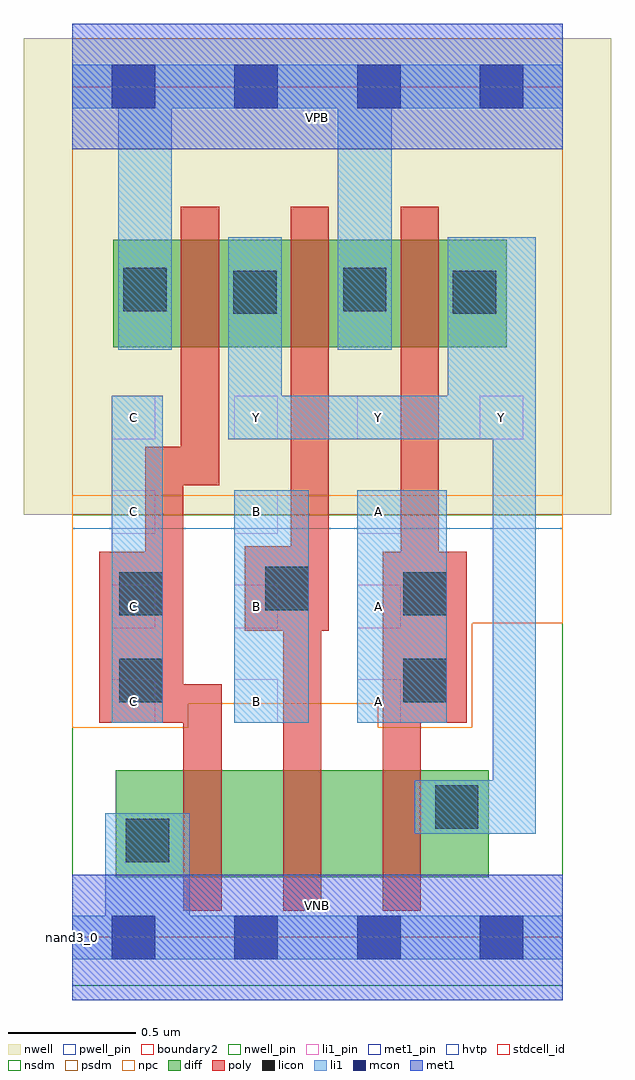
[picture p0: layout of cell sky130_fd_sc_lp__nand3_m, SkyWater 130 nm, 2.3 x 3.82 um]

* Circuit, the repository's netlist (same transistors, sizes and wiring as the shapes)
* Copyright 2020 The SkyWater PDK Authors
*
* Licensed under the Apache License, Version 2.0 (the "License");
* you may not use this file except in compliance with the License.
* You may obtain a copy of the License at
*
*     https://www.apache.org/licenses/LICENSE-2.0
*
* Unless required by applicable law or agreed to in writing, software
* distributed under the License is distributed on an "AS IS" BASIS,
* WITHOUT WARRANTIES OR CONDITIONS OF ANY KIND, either express or implied.
* See the License for the specific language governing permissions and
* limitations under the License.
*
* SPDX-License-Identifier: Apache-2.0

.SUBCKT sky130_fd_sc_lp__nand3_m A B C VGND VNB VPB VPWR Y
*.PININFO A:I B:I C:I VGND:I VNB:I VPB:I VPWR:I Y:O
MMP0 Y A VPWR VPB sky130_fd_pr__pfet_01v8_hvt m=1 w=0.42U l=0.15U mult=1 sa=0.265
+ sb=0.265 sd=0.28 area=0.063 perim=1.14
MMP1 Y B VPWR VPB sky130_fd_pr__pfet_01v8_hvt m=1 w=0.42U l=0.15U mult=1 sa=0.265
+ sb=0.265 sd=0.28 area=0.063 perim=1.14
MMP2 Y C VPWR VPB sky130_fd_pr__pfet_01v8_hvt m=1 w=0.42U l=0.15U mult=1 sa=0.265
+ sb=0.265 sd=0.28 area=0.063 perim=1.14
MMN0 Y A sndA VNB sky130_fd_pr__nfet_01v8 m=1 w=0.42U l=0.15U mult=1 sa=0.265 sb=0.265
+ sd=0.28 area=0.063 perim=1.14
MMN1 sndA B sndB VNB sky130_fd_pr__nfet_01v8 m=1 w=0.42U l=0.15U mult=1 sa=0.265
+ sb=0.265 sd=0.28 area=0.063 perim=1.14
MMN2 sndB C VGND VNB sky130_fd_pr__nfet_01v8 m=1 w=0.42U l=0.15U mult=1 sa=0.265
+ sb=0.265 sd=0.28 area=0.063 perim=1.14
.ENDS sky130_fd_sc_lp__nand3_m

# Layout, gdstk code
import gdstk
lib = gdstk.Library(unit=1e-6, precision=1e-09)
def R(c, l, rs):  # rectangles x0, y0, x1, y1
    for r in rs: c.add(gdstk.rectangle(r[:2], r[2:], *l))
def A(c, l, x, y, w, h, nx, ny, dx, dy):  # array of equal rectangles
    R(c, l, [(x+i*dx, y+j*dy, x+i*dx+w, y+j*dy+h) for i in range(nx) for j in range(ny)])
def P(c, l, *ps):  # polygons
    for p in ps: c.add(gdstk.Polygon(p, *l))
nwell_pin = (64, 16)
nwell = (64, 20)
diff = (65, 20)
poly = (66, 20)
licon = (66, 44)
li1_pin = (67, 16)
li1 = (67, 20)
mcon = (67, 44)
met1_pin = (68, 16)
met1 = (68, 20)
hvtp = (78, 44)
stdcell_id = (81, 4)
nsdm = (93, 44)
psdm = (94, 20)
npc = (95, 20)
pwell_pin = (122, 16)
boundary2 = (236, 0)

sky130_fd_sc_lp__nand3_m = lib.new_cell('sky130_fd_sc_lp__nand3_m')
R(sky130_fd_sc_lp__nand3_m, nwell_pin, [(0,3.085,1.92,3.33)])
R(sky130_fd_sc_lp__nand3_m, nwell, [(-0.19,1.655,2.11,3.52)])
R(sky130_fd_sc_lp__nand3_m, diff, [(0.17,0.235,1.63,0.655), (0.16,2.31,1.7,2.73)])
P(sky130_fd_sc_lp__nand3_m, poly, [(0.585,0.99),(0.435,0.99),(0.435,1.77),(0.575,1.77),(0.575,2.86),(0.425,2.86),(0.425,1.92),(0.285,1.92),(0.285,1.51),(0.105,1.51),(0.105,0.84),(0.435,0.84),(0.435,0.105),(0.585,0.105)],
  [(1.005,2.86),(0.855,2.86),(0.855,1.53),(0.675,1.53),(0.675,1.2),(0.825,1.2),(0.825,0.105),(0.975,0.105),(0.975,1.2),(1.005,1.2)],
  [(1.545,1.51),(1.435,1.51),(1.435,2.86),(1.285,2.86),(1.285,1.51),(1.215,1.51),(1.215,0.105),(1.365,0.105),(1.365,0.84),(1.545,0.84)])
R(sky130_fd_sc_lp__nand3_m, licon, [(0.21,0.295,0.38,0.465), (1.42,0.425,1.59,0.595), (0.185,0.92,0.355,1.09), (1.295,0.92,1.465,1.09), (0.185,1.26,0.355,1.43), (1.295,1.26,1.465,1.43), (0.755,1.28,0.925,1.45), (0.63,2.44,0.8,2.61), (1.49,2.44,1.66,2.61), (0.2,2.45,0.37,2.62), (1.06,2.45,1.23,2.62)])
A(sky130_fd_sc_lp__nand3_m, li1_pin, 0.155, 0.84, 0.17, 0.17, 3, 3, 0.48, 0.37)
A(sky130_fd_sc_lp__nand3_m, li1_pin, 0.155, 1.95, 0.17, 0.17, 4, 1, 0.48, 0)
R(sky130_fd_sc_lp__nand3_m, li1, [(0.155,0.84,0.355,2.12), (0.635,0.84,0.925,1.75), (1.115,0.84,1.465,1.75)])
P(sky130_fd_sc_lp__nand3_m, li1, [(1.04,2.3),(1.04,3.245),(0.39,3.245),(0.39,2.3),(0.18,2.3),(0.18,3.245),(0,3.245),(0,3.415),(1.92,3.415),(1.92,3.245),(1.25,3.245),(1.25,2.3)],
  [(0.13,0.085),(0.13,0.485),(0.46,0.485),(0.46,0.085),(1.92,0.085),(1.92,-0.085),(0,-0.085),(0,0.085)],
  [(0.61,1.95),(0.61,2.74),(0.82,2.74),(0.82,2.12),(1.47,2.12),(1.47,2.74),(1.815,2.74),(1.815,0.405),(1.34,0.405),(1.34,0.615),(1.645,0.615),(1.645,1.95)])
A(sky130_fd_sc_lp__nand3_m, mcon, 0.155, -0.085, 0.17, 0.17, 4, 2, 0.48, 3.33)
R(sky130_fd_sc_lp__nand3_m, met1_pin, [(0,0,1.92,0.245), (0,3.085,1.92,3.33)])
R(sky130_fd_sc_lp__nand3_m, met1, [(0,-0.245,1.92,0.245), (0,3.085,1.92,3.575)])
R(sky130_fd_sc_lp__nand3_m, hvtp, [(0,1.6,1.92,3.33)])
R(sky130_fd_sc_lp__nand3_m, stdcell_id, [(0,0,1.92,3.33)])
R(sky130_fd_sc_lp__nand3_m, nsdm, [(0,-0.19,1.92,1.655)])
R(sky130_fd_sc_lp__nand3_m, psdm, [(0,1.655,1.92,3.52)])
P(sky130_fd_sc_lp__nand3_m, npc, [(1.92,1.73),(0,1.73),(0,0.82),(0.455,0.82),(0.455,0.915),(1.195,0.915),(1.195,0.82),(1.565,0.82),(1.565,1.23),(1.92,1.23)])
R(sky130_fd_sc_lp__nand3_m, pwell_pin, [(0,0,1.92,0.245)])
R(sky130_fd_sc_lp__nand3_m, boundary2, [(0,0,1.92,3.33)])
sky130_fd_sc_lp__nand3_m.add(gdstk.Label('VNB', (0.96,0.123), layer=64, texttype=59))
sky130_fd_sc_lp__nand3_m.add(gdstk.Label('VPB', (0.96,3.208), layer=64, texttype=5))
sky130_fd_sc_lp__nand3_m.add(gdstk.Label('nand3_0', (0,0), layer=83, texttype=44))
sky130_fd_sc_lp__nand3_m.add(gdstk.Label('VPWR', (0.96,3.208), layer=68, texttype=5))
sky130_fd_sc_lp__nand3_m.add(gdstk.Label('VGND', (0.96,0.123), layer=68, texttype=5))
sky130_fd_sc_lp__nand3_m.add(gdstk.Label('A', (1.2,0.925), layer=67, texttype=5))
sky130_fd_sc_lp__nand3_m.add(gdstk.Label('A', (1.2,1.295), layer=67, texttype=5))
sky130_fd_sc_lp__nand3_m.add(gdstk.Label('A', (1.2,1.665), layer=67, texttype=5))
sky130_fd_sc_lp__nand3_m.add(gdstk.Label('B', (0.72,0.925), layer=67, texttype=5))
sky130_fd_sc_lp__nand3_m.add(gdstk.Label('B', (0.72,1.295), layer=67, texttype=5))
sky130_fd_sc_lp__nand3_m.add(gdstk.Label('B', (0.72,1.665), layer=67, texttype=5))
sky130_fd_sc_lp__nand3_m.add(gdstk.Label('C', (0.24,0.925), layer=67, texttype=5))
sky130_fd_sc_lp__nand3_m.add(gdstk.Label('C', (0.24,1.295), layer=67, texttype=5))
sky130_fd_sc_lp__nand3_m.add(gdstk.Label('C', (0.24,1.665), layer=67, texttype=5))
sky130_fd_sc_lp__nand3_m.add(gdstk.Label('C', (0.24,2.035), layer=67, texttype=5))
sky130_fd_sc_lp__nand3_m.add(gdstk.Label('Y', (0.72,2.035), layer=67, texttype=5))
sky130_fd_sc_lp__nand3_m.add(gdstk.Label('Y', (1.2,2.035), layer=67, texttype=5))
sky130_fd_sc_lp__nand3_m.add(gdstk.Label('Y', (1.68,2.035), layer=67, texttype=5))

lib.write_gds('sky130_fd_sc_lp__nand3_m.gds')
